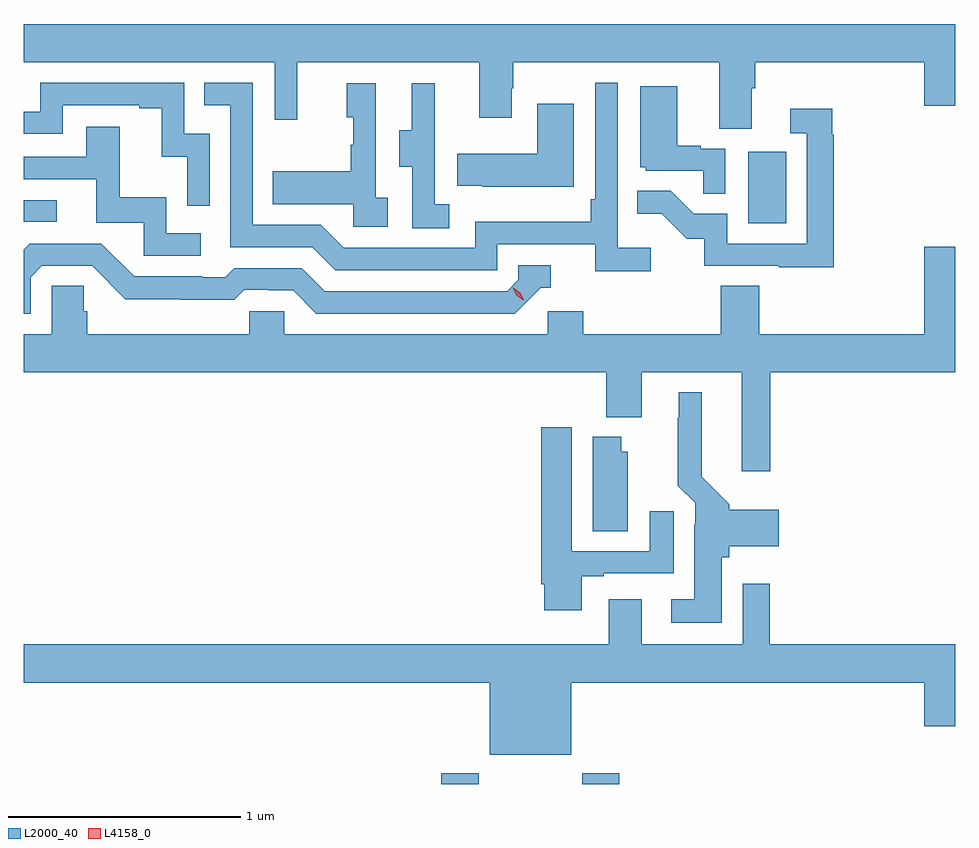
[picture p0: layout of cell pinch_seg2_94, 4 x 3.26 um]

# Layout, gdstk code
import gdstk
lib = gdstk.Library(unit=1e-6, precision=1e-09)
def R(c, l, rs):  # rectangles x0, y0, x1, y1
    for r in rs: c.add(gdstk.rectangle(r[:2], r[2:], *l))
def P(c, l, *ps):  # polygons
    for p in ps: c.add(gdstk.Polygon(p, *l))
L2000_40 = (2000, 40)
L4158_0 = (4158, 0)

pinch_seg2_94 = lib.new_cell('pinch_seg2_94')
R(pinch_seg2_94, L2000_40, [(1050.047,632.549,1050.207,632.596), (1050.652,632.549,1050.812,632.596), (1051.364,634.956,1051.528,635.263), (1048.254,634.962,1048.396,635.055)])
P(pinch_seg2_94, L2000_40, [(1051.381,635.536),(1051.394,635.536),(1051.394,635.648),(1052.12,635.648),(1052.12,635.46),(1052.254,635.46),(1052.254,635.812),(1048.254,635.812),(1048.254,635.648),(1049.331,635.648),(1049.331,635.4),(1049.429,635.4),(1049.429,635.648),(1050.209,635.648),(1050.209,635.409),(1050.349,635.409),(1050.349,635.537),(1050.357,635.537),(1050.357,635.648),(1051.241,635.648),(1051.241,635.362),(1051.381,635.362)],
  [(1050.946,634.852),(1050.804,634.852),(1050.804,635.56),(1050.708,635.56),(1050.708,635.059),(1050.688,635.059),(1050.688,634.963),(1050.192,634.963),(1050.192,634.851),(1049.628,634.851),(1049.529,634.95),(1049.238,634.95),(1049.238,635.559),(1049.029,635.559),(1049.029,635.463),(1049.142,635.463),(1049.142,634.854),(1049.492,634.854),(1049.591,634.755),(1050.288,634.755),(1050.288,634.866),(1050.707,634.866),(1050.707,634.75),(1050.946,634.75)],
  [(1049.052,635.34),(1048.944,635.34),(1048.944,635.559),(1048.326,635.559),(1048.326,635.436),(1048.254,635.436),(1048.254,635.34),(1048.422,635.34),(1048.422,635.463),(1048.751,635.463),(1048.751,635.451),(1048.847,635.451),(1048.847,635.243),(1048.956,635.243),(1048.956,635.031),(1049.052,635.031)],
  [(1049.818,635.066),(1049.766,635.066),(1049.766,635.557),(1049.642,635.557),(1049.642,635.412),(1049.668,635.412),(1049.668,635.294),(1049.658,635.294),(1049.658,635.179),(1049.323,635.179),(1049.323,635.039),(1049.67,635.039),(1049.67,634.941),(1049.818,634.941)],
  [(1050.082,635.039),(1050.018,635.039),(1050.018,635.343),(1050.02,635.343),(1050.02,635.557),(1049.921,635.557),(1049.921,635.355),(1049.867,635.355),(1049.867,635.2),(1049.922,635.2),(1049.922,634.936),(1050.082,634.936)],
  [(1051.266,635.277),(1051.16,635.277),(1051.16,635.29),(1051.06,635.29),(1051.06,635.545),(1050.902,635.545),(1050.902,635.196),(1050.924,635.196),(1050.924,635.181),(1051.171,635.181),(1051.171,635.083),(1051.266,635.083)],
  [(1050.616,635.47),(1050.458,635.47),(1050.458,635.254),(1050.115,635.254),(1050.115,635.117),(1050.223,635.117),(1050.223,635.114),(1050.616,635.114)],
  [(1051.733,635.336),(1051.726,635.336),(1051.726,635.449),(1051.545,635.449),(1051.545,635.343),(1051.617,635.343),(1051.617,634.869),(1051.275,634.869),(1051.275,634.998),(1051.131,634.998),(1051.033,635.096),(1050.889,635.096),(1050.889,634.997),(1050.993,634.997),(1051.1,634.89),(1051.177,634.89),(1051.177,634.773),(1051.495,634.773),(1051.495,634.768),(1051.733,634.768)],
  [(1049.014,634.914),(1048.866,634.914),(1048.866,635.068),(1048.667,635.068),(1048.667,635.371),(1048.523,635.371),(1048.523,635.241),(1048.254,635.241),(1048.254,635.145),(1048.565,635.145),(1048.565,634.959),(1048.77,634.959),(1048.77,634.818),(1049.014,634.818)],
  [(1048.284,634.725),(1048.332,634.773),(1048.548,634.773),(1048.69,634.631),(1048.926,634.631),(1048.926,634.629),(1049.159,634.629),(1049.201,634.671),(1049.304,634.671),(1049.304,634.668),(1049.411,634.668),(1049.51,634.569),(1050.363,634.569),(1050.474,634.68),(1050.517,634.68),(1050.517,634.776),(1050.378,634.776),(1050.378,634.713),(1050.33,634.665),(1049.547,634.665),(1049.448,634.764),(1049.159,634.764),(1049.12,634.725),(1049.021,634.725),(1049.021,634.728),(1048.728,634.728),(1048.587,634.869),(1048.281,634.869),(1048.254,634.842),(1048.254,634.569),(1048.284,634.569)],
  [(1051.247,634.48),(1050.656,634.48),(1050.656,634.578),(1050.504,634.578),(1050.504,634.48),(1049.373,634.48),(1049.373,634.578),(1049.223,634.578),(1049.223,634.48),(1048.526,634.48),(1048.526,634.578),(1048.511,634.578),(1048.511,634.688),(1048.374,634.688),(1048.374,634.48),(1048.254,634.48),(1048.254,634.316),(1050.755,634.316),(1050.755,634.124),(1050.907,634.124),(1050.907,634.316),(1051.337,634.316),(1051.337,633.891),(1051.46,633.891),(1051.46,634.316),(1052.254,634.316),(1052.254,634.855),(1052.12,634.855),(1052.12,634.48),(1051.412,634.48),(1051.412,634.688),(1051.247,634.688)],
  [(1051.252,633.522),(1051.283,633.522),(1051.283,633.569),(1051.495,633.569),(1051.495,633.727),(1051.283,633.727),(1051.283,633.75),(1051.165,633.868),(1051.165,634.231),(1051.067,634.231),(1051.067,634.121),(1051.063,634.121),(1051.063,633.83),(1051.137,633.756),(1051.137,633.662),(1051.133,633.662),(1051.133,633.343),(1051.035,633.343),(1051.035,633.242),(1051.252,633.242)],
  [(1050.649,633.441),(1050.745,633.441),(1050.745,633.453),(1051.045,633.453),(1051.045,633.721),(1050.941,633.721),(1050.941,633.549),(1050.607,633.549),(1050.607,634.081),(1050.476,634.081),(1050.476,633.406),(1050.488,633.406),(1050.488,633.294),(1050.649,633.294)],
  [(1050.847,633.975),(1050.82,633.975),(1050.82,634.039),(1050.698,634.039),(1050.698,633.634),(1050.847,633.634)],
  [(1050.604,632.984),(1052.12,632.984),(1052.12,632.796),(1052.254,632.796),(1052.254,633.148),(1051.457,633.148),(1051.457,633.409),(1051.341,633.409),(1051.341,633.148),(1050.907,633.148),(1050.907,633.343),(1050.767,633.343),(1050.767,633.148),(1048.254,633.148),(1048.254,632.984),(1050.254,632.984),(1050.254,632.675),(1050.604,632.675)])
P(pinch_seg2_94, L4158_0, [(1050.4,634.626),(1050.37,634.646),(1050.354,634.679),(1050.354,634.68),(1050.355,634.68),(1050.385,634.659),(1050.4,634.626),(1050.4,634.626)])

lib.write_gds('pinch_seg2_94.gds')
